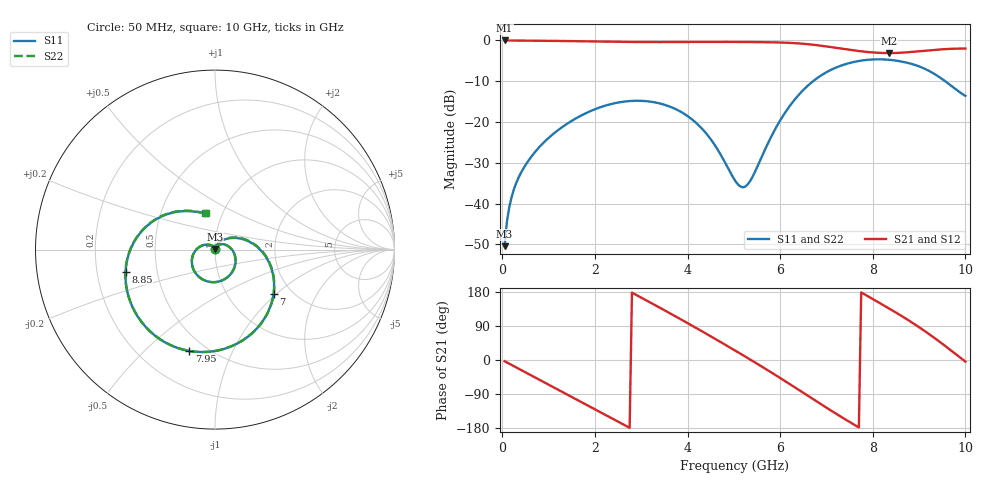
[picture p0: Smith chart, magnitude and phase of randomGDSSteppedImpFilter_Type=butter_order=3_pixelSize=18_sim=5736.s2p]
! freq	dB(S11)	phase(S11)	dB(S12)	phase(S12)
!  dB(S21)	phase(S21)	dB(S22)	phase(S22)
!S-par simulation data
#  GHz  S  DB  R 50
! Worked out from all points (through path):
!   200 points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, 50 MHz to 10 GHz, reference 50 ohm
!   highest |S21| = 0.00 dB at 50 MHz (marker M1); lowest = -3.1 dB at 8.35 GHz (marker M2)
!   group delay of S21, straight-line fit = 199 ps
!   lowest |S11| = -50.4 dB at 50 MHz (marker M3), VSWR 1.01, Z = 50 + j0.299 ohm
!   |S11| at or under -10 dB: start of sweep to 6.71 GHz; 9.564 GHz to end of sweep
!   |S22| runs from -50.4 to -4.6 dB; largest |S21 - S12| = 0
!   S11 on the Smith chart (normalised r, x): 50 MHz: 1.00, +0.01; 7 GHz: 1.62, -0.95; 7.95 GHz: 0.41, -0.69; 8.85 GHz: 0.33, -0.11; 10 GHz: 0.83, +0.35
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0.05  -50.44 84.0  -0.00 -3.3  -0.00 -3.3  -50.44 84.0
0.1  -44.43 81.7  -0.01 -6.5  -0.01 -6.5  -44.43 81.6
0.2  -38.44 75.2  -0.02 -13.0  -0.02 -13.0  -38.44 75.1
0.45  -31.50 59.2  -0.05 -29.2  -0.05 -29.2  -31.50 59.1
1.15  -22.47 15.6  -0.11 -74.6  -0.11 -74.6  -22.47 15.3
1.75  -18.14 -23.0  -0.20 -113.6  -0.20 -113.6  -18.14 -23.4
2.6  -15.04 -78.4  -0.35 -169.1  -0.35 -169.1  -15.04 -78.8
3.4  -15.44 -130.7  -0.40 138.1  -0.40 138.1  -15.44 -131.1
4.2  -20.35 175.2  -0.36 83.6  -0.36 83.6  -20.35 175.0
4.6  -25.85 146.4  -0.35 55.5  -0.35 55.5  -25.83 146.8
5.05  -34.75 108.1  -0.37 23.3  -0.37 23.3  -34.74 112.1
5.3  -35.28 83.4  -0.38 5.1  -0.38 5.1  -35.38 89.4
5.75  -24.90 54.1  -0.44 -28.3  -0.44 -28.3  -24.93 56.7
6.25  -15.41 19.6  -0.62 -66.9  -0.62 -66.9  -15.42 20.7
6.7  -10.09 -14.3  -1.04 -102.5  -1.04 -102.5  -10.09 -13.7
7  -7.78 -36.9  -1.47 -125.9  -1.47 -125.9  -7.79 -36.6
7.45  -5.68 -69.7  -2.22 -159.9  -2.22 -159.9  -5.69 -69.5
7.95  -4.69 -104.3  -2.89 164.2  -2.89 164.2  -4.69 -104.3
8.35  -4.75 -131.6  -3.10 136.0  -3.10 136.0  -4.76 -131.7
8.85  -5.79 -166.2  -2.81 98.7  -2.81 98.7  -5.80 -166.6
9.4  -8.70 152.4  -2.25 52.0  -2.25 52.0  -8.73 151.5
10  -13.58 105.2  -1.99 -4.4  -1.99 -4.4  -13.66 103.5
